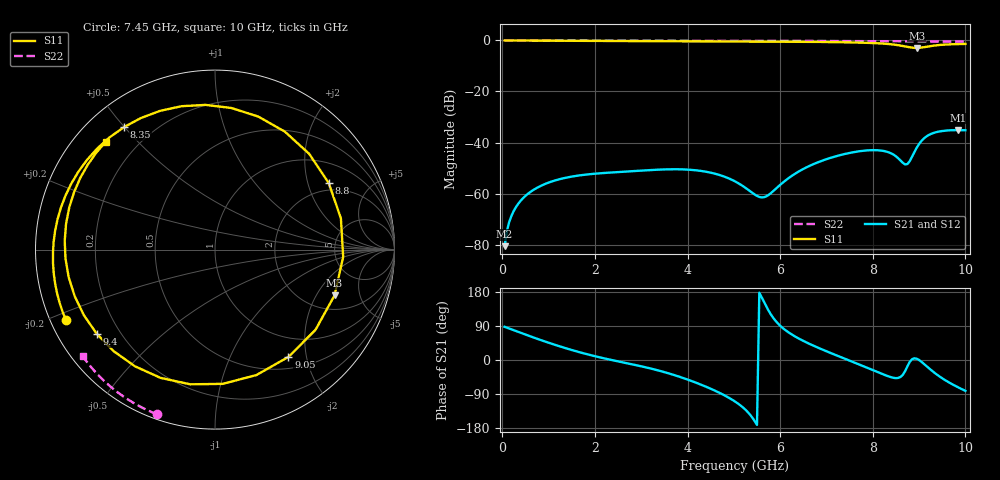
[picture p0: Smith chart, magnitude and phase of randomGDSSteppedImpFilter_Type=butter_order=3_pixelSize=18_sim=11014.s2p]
! freq	dB(S11)	phase(S11)	dB(S12)	phase(S12)
!  dB(S21)	phase(S21)	dB(S22)	phase(S22)
!S-par simulation data
#  GHz  S  DB  R 50
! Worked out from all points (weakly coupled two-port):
!   200 points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, 50 MHz to 10 GHz, reference 50 ohm
!   highest |S21| = -35.12 dB at 9.85 GHz (marker M1); lowest = -80.6 dB at 50 MHz (marker M2)
!   lowest |S11| = -2.9 dB at 8.95 GHz (marker M3), VSWR 5.97, Z = 139 - j144 ohm
!   |S11| at or under -10 dB: nowhere
!   |S22| runs from -0.5 to 0.0 dB; largest |S21 - S12| = 0
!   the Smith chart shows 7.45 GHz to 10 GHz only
!   S11 on the Smith chart (normalised r, x): 7.45 GHz: 0.04, -0.22; 8.35 GHz: 0.10, +0.50; 8.8 GHz: 1.70, +2.73; 9.05 GHz: 0.67, -1.69; 9.4 GHz: 0.12, -0.32; 10 GHz: 0.09, +0.41
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0.05  -0.00 -3.9  -80.60 87.6  -80.60 87.6  -0.00 -0.8
0.2  -0.02 -15.3  -68.62 80.7  -68.62 80.7  -0.00 -3.3
0.5  -0.05 -38.0  -60.90 67.0  -60.90 67.0  -0.01 -8.2
1.1  -0.10 -82.5  -55.07 41.5  -55.07 41.5  -0.02 -17.9
1.75  -0.15 -129.0  -52.67 17.8  -52.67 17.8  -0.04 -28.2
2.55  -0.21 174.3  -51.52 -4.9  -51.52 -4.9  -0.05 -40.7
3.4  -0.27 111.3  -50.60 -28.6  -50.60 -28.6  -0.07 -53.7
4.1  -0.32 57.5  -50.73 -56.0  -50.73 -56.0  -0.09 -64.0
5.05  -0.37 -11.9  -55.45 -111.6  -55.45 -111.6  -0.12 -77.5
5.65  -0.41 -50.6  -61.42 153.3  -61.42 153.3  -0.14 -85.8
6.7  -0.55 -110.8  -48.61 38.8  -48.61 38.8  -0.19 -99.8
7.45  -0.73 -154.6  -44.27 0.7  -44.27 0.7  -0.24 -109.4
7.95  -0.98 169.1  -43.00 -24.0  -43.00 -24.0  -0.28 -115.8
8.35  -1.41 126.5  -43.87 -43.7  -43.87 -43.7  -0.31 -120.8
8.6  -2.00 83.4  -47.06 -44.7  -47.06 -44.7  -0.33 -123.9
8.8  -2.68 30.3  -47.22 -4.6  -47.22 -4.6  -0.35 -126.4
8.95  -2.94 -21.0  -41.97 3.3  -41.97 3.3  -0.36 -128.2
9.05  -2.80 -55.6  -39.40 -4.6  -39.40 -4.6  -0.37 -129.5
9.2  -2.35 -100.4  -37.14 -20.4  -37.14 -20.4  -0.39 -131.3
9.4  -1.84 -144.5  -35.80 -39.9  -35.80 -39.9  -0.41 -133.8
9.85  -1.41 151.9  -35.12 -72.6  -35.12 -72.6  -0.46 -139.3
10  -1.36 135.4  -35.18 -81.3  -35.18 -81.3  -0.48 -141.2
